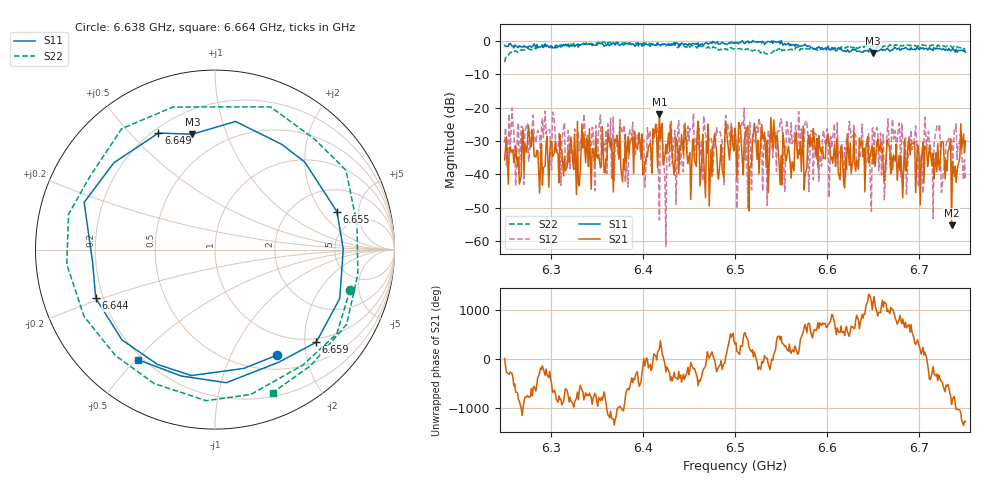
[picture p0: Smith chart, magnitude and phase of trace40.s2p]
# Hz S RI R 50
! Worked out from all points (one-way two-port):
!   401 points, 6.25 GHz to 6.75 GHz, reference 50 ohm
!   highest |S21| = -21.99 dB at 6.418 GHz (marker M1); lowest = -55.3 dB at 6.735 GHz (marker M2)
!   lowest |S11| = -3.7 dB at 6.65 GHz (marker M3), VSWR 4.80, Z = 17 + j38.2 ohm
!   |S11| at or under -10 dB: nowhere
!   |S22| runs from -6.3 to -0.2 dB; largest |S21 - S12| = 0.14
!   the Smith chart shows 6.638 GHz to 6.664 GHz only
!   S11 on the Smith chart (normalised r, x): 6.638 GHz: 0.69, -1.52; 6.644 GHz: 0.17, -0.19; 6.649 GHz: 0.22, +0.60; 6.655 GHz: 3.36, +2.87; 6.659 GHz: 0.91, -2.26; 6.664 GHz: 0.18, -0.51
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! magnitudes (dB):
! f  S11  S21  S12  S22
! 6.25 GHz  -1.2  -35.7  -30.5  -6.3
! 6.334 GHz  -0.9  -24.8  -28.2  -0.6
! 6.418 GHz  -1.1  -22.0  -53.7  -1.3
! 6.426 GHz  -1.0  -33.7  -33.3  -1.1
! 6.432 GHz  -1.0  -35.0  -36.9  -1.1
! 6.5 GHz  -0.3  -26.1  -27.7  -2.2
! 6.584 GHz  -1.9  -31.8  -27.2  -2.3
! 6.638 GHz  -3.3  -29.9  -24.9  -2.1
! 6.644 GHz  -2.9  -28.6  -34.6  -1.7
! 6.649 GHz  -2.8  -31.5  -26.1  -1.5
! 6.65 GHz  -3.7  -36.9  -26.1  -1.9
! 6.655 GHz  -3.0  -29.4  -27.5  -1.4
! 6.659 GHz  -2.3  -33.3  -40.2  -1.9
! 6.664 GHz  -2.5  -35.3  -36.6  -1.3
! 6.668 GHz  -3.0  -31.6  -35.2  -1.0
! 6.694 GHz  -2.5  -30.9  -30.6  -1.5
! 6.701 GHz  -1.9  -49.2  -39.1  -1.3
! 6.708 GHz  -2.2  -32.7  -32.3  -1.4
! 6.72 GHz  -2.2  -30.8  -25.9  -1.2
! 6.726 GHz  -2.2  -30.4  -39.3  -1.4
! 6.735 GHz  -2.8  -55.3  -29.6  -1.8
! 6.75 GHz  -3.4  -29.9  -41.8  -2.3
